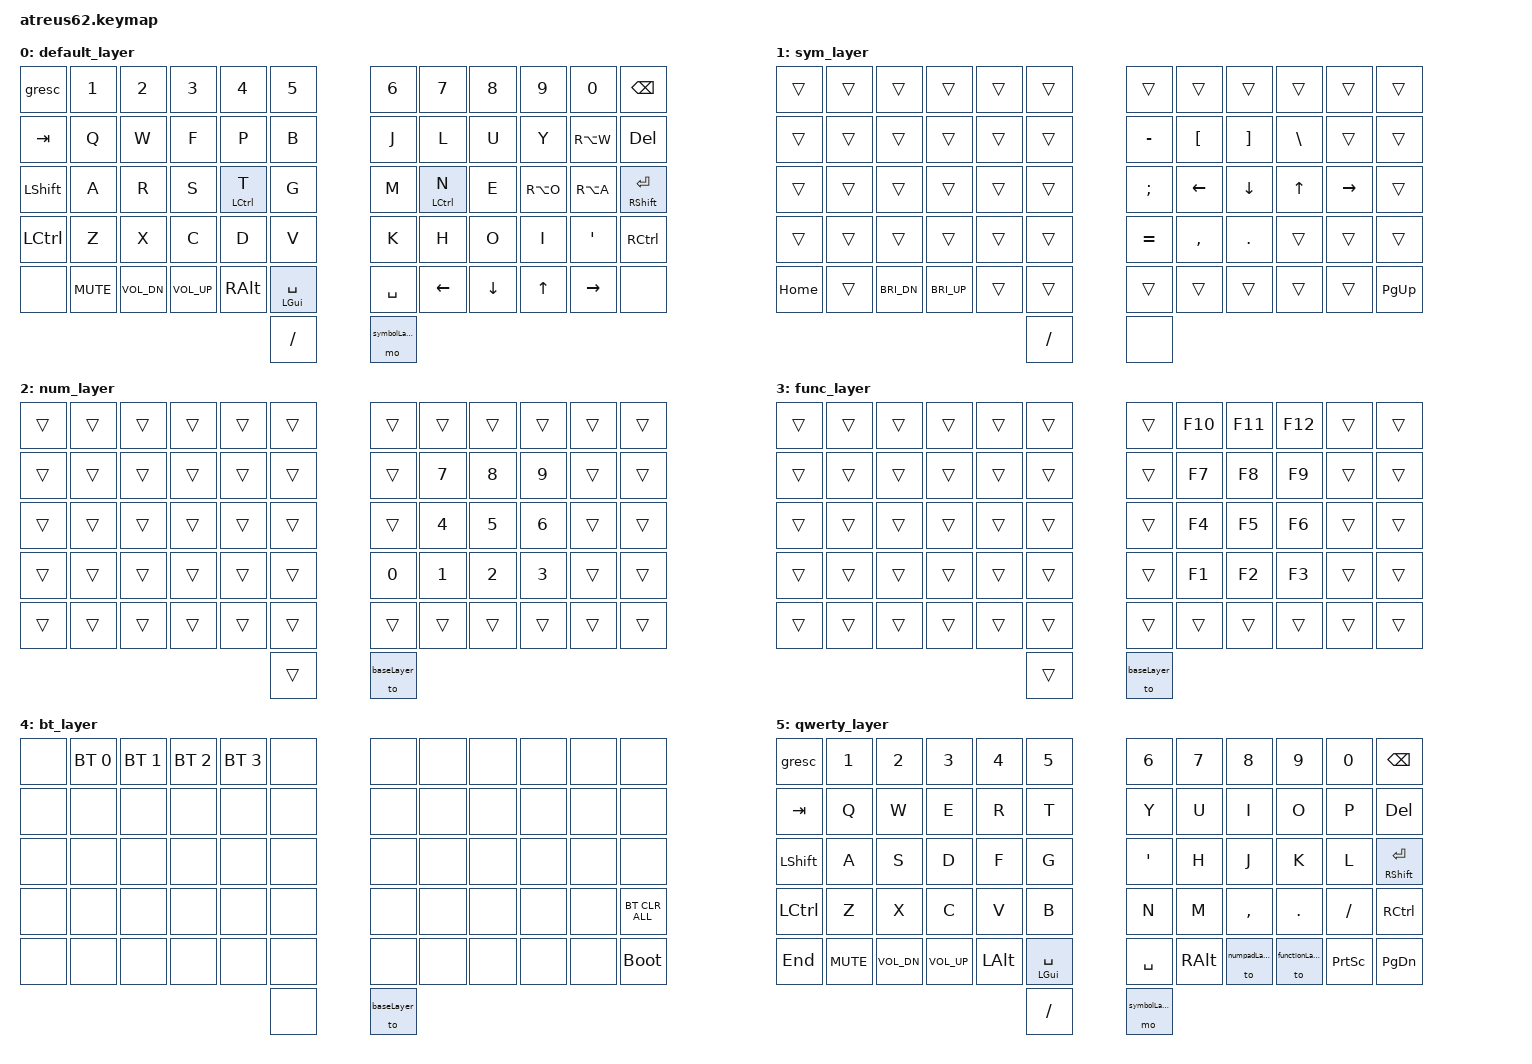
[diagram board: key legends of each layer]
#include <behaviors.dtsi>
#include <dt-bindings/zmk/keys.h>
#include <dt-bindings/zmk/bt.h>

/* Layers */
#define baseLayer 0
#define symbolLayer 1
#define numpadLayer 2
#define functionLayer 3
#define bluetoothLayer 4
#define gamingLayer 5

/* Shorthand */
#define _ &kp
#define __ &trans
#define ___ &none


/*
Key positions:

00 01 02 03 04 05       06 07 08 09 10 11
12 13 14 15 16 17       18 19 20 21 22 23
24 25 26 27 28 29       30 31 32 33 34 35
36 37 38 39 40 41       42 43 44 45 46 47
48 49 50 51 52 53       54 55 56 57 58 59
                  60 61
*/

/ {
  combos {
    compatible = "zmk,combos";
    combo_btl {
      timeout-ms = <200>;
      key-positions = <60 61>;
      bindings = <&sl bluetoothLayer>;
    };
  };
};

/ {
  behaviors {
    gresc: grave_escape {
      compatible = "zmk,behavior-mod-morph";
      bindings = <&kp ESC>, <&kp GRAVE>;
      mods = <(MOD_LSFT|MOD_RSFT)>;
      keep-mods = <(MOD_RSFT)>;
    };
    hm_l: homerow_mods_left {
      compatible = "zmk,behavior-hold-tap";
      #binding-cells = <2>;
      label = "HOMEROW_MODS_L";
      flavor = "balanced";
      tapping-term-ms = <300>;
      quick-tap-ms = <200>;
      require-prior-idle-ms = <150>;
      hold-trigger-key-positions = <18 19 20 21 22 30 31 32 33 34 42 43 44 45 46>;
      hold-trigger-on-release;
      bindings = <&kp>, <&kp>;
    };
    hm_r: homerow_mods_right {
      compatible = "zmk,behavior-hold-tap";
      #binding-cells = <2>;
      label = "HOMEROW_MODS_R";
      flavor = "balanced";
      tapping-term-ms = <300>;
      quick-tap-ms = <200>;
      require-prior-idle-ms = <150>;
      hold-trigger-key-positions = <13 14 15 16 17 25 26 27 28 29 37 38 39 40 41>;
      hold-trigger-on-release;
      bindings = <&kp>, <&kp>;
    };
  };
};

/ {
  keymap {
    compatible = "zmk,keymap";
    
    default_layer {
      bindings = <
        &gresc  _ N1     _ N2         _ N3         _ N4         _ N5           _ N6    _ N7         _ N8         _ N9    _ N0    _ BKSP
        _ TAB   _ Q      _ W          _ F          _ P          _ B            _ J     _ L          _ U          _ Y     _ RA(W) _ DEL
        _ LSHFT _ A      _ R          _ S          &hm_l LCTL T _ G            _ M     &hm_r LCTL N _ E          _ RA(O) _ RA(A) &mt RSHFT ENTER
        _ LCTL  _ Z      _ X          _ C          _ D          _ V            _ K     _ H          _ O          _ I     _ APOS  _ RCTL 
        ___     _ C_MUTE _ C_VOL_DN   _ C_VOL_UP   _ RALT       &mt LGUI SPACE _ SPACE _ LEFT       _ DOWN       _ UP    _ RIGHT ___
        _ FSLH  &mo symbolLayer
      >;
    };

    sym_layer {
      bindings = <
        __     __ __         __         __ __   __      __     __     __      __     __ 
        __     __ __         __         __ __   _ MINUS _ LBKT _ RBKT _ BSLH  __     __ 
        __     __ __         __         __ __   _ SEMI  _ LEFT _ DOWN _ UP   _ RIGHT __
        __     __ __         __         __ __   _ EQUAL _ COMMA _ PERIOD     __      __     __ 
        _ HOME __ _ C_BRI_DN _ C_BRI_UP __ __   __      __     __     __      __     _ PG_UP
        _ FSLH  ___
      >;
    };

    num_layer {
      bindings = <
        __ __ __ __ __ __    __   __   __   __   __ __
        __ __ __ __ __ __    __   _ N7 _ N8 _ N9 __ __
        __ __ __ __ __ __    __   _ N4 _ N5 _ N6 __ __
        __ __ __ __ __ __    _ N0 _ N1 _ N2 _ N3 __ __
        __ __ __ __ __ __    __   __   __   __   __ __
        __ &to baseLayer
      >;
    };

    func_layer {
      bindings = <
        __ __ __ __ __ __    __ _ F10 _ F11 _ F12 __ __
        __ __ __ __ __ __    __ _ F7  _ F8  _ F9  __ __
        __ __ __ __ __ __    __ _ F4  _ F5  _ F6  __ __
        __ __ __ __ __ __    __ _ F1  _ F2  _ F3  __ __
        __ __ __ __ __ __    __ __    __    __    __ __
        __  &to baseLayer
      >;
    };

    bt_layer {
      bindings = <
        ___ &bt BT_SEL 0 &bt BT_SEL 1 &bt BT_SEL 2 &bt BT_SEL 3 ___    ___ ___ ___ ___ ___ ___
        ___ ___          ___          ___          ___          ___    ___ ___ ___ ___ ___ ___
        ___ ___          ___          ___          ___          ___    ___ ___ ___ ___ ___ ___ 
        ___ ___          ___          ___          ___          ___    ___ ___ ___ ___ ___ &bt BT_CLR_ALL
        ___ ___          ___          ___          ___          ___    ___ ___ ___ ___ ___ &bootloader 
        ___  &to baseLayer
      >;
    };
    
    qwerty_layer {
      bindings = <
        &gresc  _ N1     _ N2       _ N3       _ N4   _ N5            _ N6    _ N7   _ N8     _ N9     _ N0    _ BKSP
        _ TAB   _ Q      _ W        _ E        _ R    _ T             _ Y     _ U    _ I      _ O      _ P     _ DEL
        _ LSHFT _ A      _ S        _ D        _ F    _ G             _ APOS  _ H    _ J      _ K      _ L     &mt RSHFT ENTER
        _ LCTL  _ Z      _ X        _ C        _ V    _ B             _ N     _ M    _ COMMA  _ PERIOD  _ FSLH  _ RCTL 
        _ END   _ C_MUTE _ C_VOL_DN _ C_VOL_UP _ LALT &mt LGUI SPACE  _ SPACE _ RALT &to numpadLayer &to functionLayer _ PSCRN _ PG_DN
        _ FSLH  &mo symbolLayer
      >;
    };
 
  };
};
